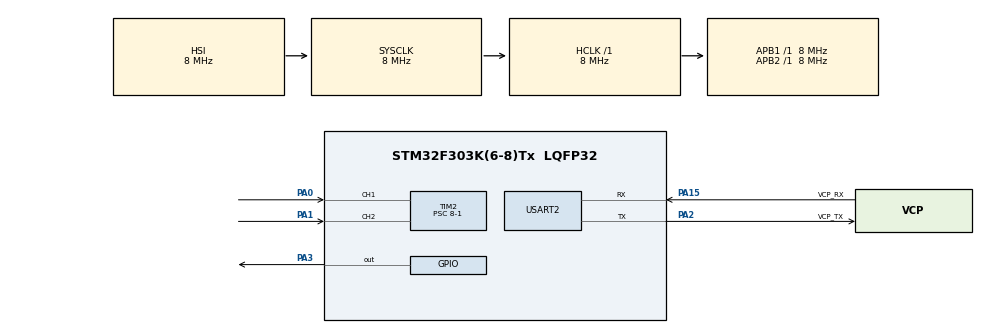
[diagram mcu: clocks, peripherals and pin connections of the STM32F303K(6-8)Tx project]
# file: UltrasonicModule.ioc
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Mcu.Family=STM32F3
Mcu.Name=STM32F303K(6-8)Tx
Mcu.Package=LQFP32
NVIC.PriorityGroup=NVIC_PRIORITYGROUP_4
NVIC.TIM2_IRQn=true\:0\:0\:false\:false\:true\:true\:true\:true
PA0.Signal=S_TIM2_CH1_ETR
PA1.Signal=S_TIM2_CH2
PA13.GPIO_Label=SWDIO
PA13.Mode=Serial_Wire
PA13.Signal=SYS_JTMS-SWDIO
PA14.GPIO_Label=SWCLK
PA14.Mode=Serial_Wire
PA14.Signal=SYS_JTCK-SWCLK
PA15.GPIO_Label=VCP_RX
PA15.Mode=Asynchronous
PA15.Signal=USART2_RX
PA2.GPIO_Label=VCP_TX
PA2.Mode=Asynchronous
PA2.Signal=USART2_TX
PA3.Signal=GPIO_Output
PF0\ /\ OSC_IN.GPIO_Label=MCO
PF0\ /\ OSC_IN.Mode=HSE-External-Clock-Source
PF0\ /\ OSC_IN.Signal=RCC_OSC_IN
ProjectManager.HeapSize=0x200
ProjectManager.StackSize=0x400
ProjectManager.TargetToolchain=STM32CubeIDE
RCC.AHBFreq_Value=8000000
RCC.APB1Freq_Value=8000000
RCC.APB1TimFreq_Value=8000000
RCC.APB2Freq_Value=8000000
RCC.APB2TimFreq_Value=8000000
RCC.CortexFreq_Value=8000000
RCC.HCLKFreq_Value=8000000
RCC.HSE_VALUE=8000000
RCC.HSI_VALUE=8000000
RCC.SYSCLKFreq_VALUE=8000000
SH.S_TIM2_CH1_ETR.0=TIM2_CH1,Input_Capture1_from_TI1
SH.S_TIM2_CH2.0=TIM2_CH2,Input_Capture2_from_TI2
TIM2.Channel-Input_Capture1_from_TI1=TIM_CHANNEL_1
TIM2.Channel-Input_Capture2_from_TI2=TIM_CHANNEL_2
TIM2.ICPolarity_CH2=TIM_INPUTCHANNELPOLARITY_FALLING
TIM2.Prescaler=8-1
USART2.VirtualMode-Asynchronous=VM_ASYNC
board=NUCLEO-F303K8

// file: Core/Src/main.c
/* USER CODE BEGIN Header */
/**
  ******************************************************************************
  * @file           : main.c
  * @brief          : Main program body
  ******************************************************************************
  * @attention
  *
  * Copyright (c) 2026 STMicroelectronics.
  * All rights reserved.
  *
  * This software is licensed under terms that can be found in the LICENSE file
  * in the root directory of this software component.
  * If no LICENSE file comes with this software, it is provided AS-IS.
  *
  ******************************************************************************
  */
/* USER CODE END Header */
#include "main.h"

/* USER CODE BEGIN Includes */
#include <stdio.h>
/* USER CODE END Includes */

TIM_HandleTypeDef htim2;

UART_HandleTypeDef huart2;

/* USER CODE BEGIN PV */
uint32_t t1 = 0;
uint32_t t2 = 0;
float distance = 0;
/* USER CODE END PV */

void SystemClock_Config(void);
static void MX_GPIO_Init(void);
static void MX_USART2_UART_Init(void);
static void MX_TIM2_Init(void);

/* USER CODE BEGIN 0 */
void Start_IC(void) {
	if (HAL_TIM_IC_Start_IT(&htim2, TIM_CHANNEL_1) != HAL_OK) {
		Error_Handler();
	}

	if (HAL_TIM_IC_Start_IT(&htim2, TIM_CHANNEL_2) != HAL_OK) {
		Error_Handler();
	}
}

void calcDistance(uint32_t t1, uint32_t t2) {
	uint32_t dT = t2 - t1;
	distance = (dT * 0.0343) / 2;
}

// Should be called twice, once for channel 1 rising edge detection
// Second time for channel 2 falling edge detection
void HAL_TIM_IC_CaptureCallback(TIM_HandleTypeDef *htim) {

	// Determine which channel generated the interrupt

	// Read Timer after rising edge capture
	if (htim->Channel == HAL_TIM_ACTIVE_CHANNEL_1) {
		t1 = HAL_TIM_ReadCapturedValue(&htim2, TIM_CHANNEL_1);
	}

	// Read Timer after falling edge capture
	if (htim->Channel == HAL_TIM_ACTIVE_CHANNEL_2) {
		t2 = HAL_TIM_ReadCapturedValue(&htim2, TIM_CHANNEL_2);
	}

	// Calculate and print distance
	if (t1 != 0 && t2 != 0) {
		calcDistance(t1, t2);
		printf("Distance: %f\n", distance);

		// Reset t1 and t2
		t1 = 0;
		t2 = 0;
	}
}
/* USER CODE END 0 */

int main(void)
{

  /* MCU Configuration--------------------------------------------------------*/

  /* Reset of all peripherals, Initializes the Flash interface and the Systick. */
  HAL_Init();

  /* Configure the system clock */
  SystemClock_Config();

  /* Initialize all configured peripherals */
  MX_GPIO_Init();
  MX_USART2_UART_Init();
  MX_TIM2_Init();
  /* USER CODE BEGIN 2 */
  Start_IC();
  /* USER CODE END 2 */

  /* Infinite loop */
  /* USER CODE BEGIN WHILE */
  while (1)
  {

	  HAL_GPIO_WritePin(GPIOA, GPIO_PIN_3, GPIO_PIN_SET);
	  HAL_Delay(1);
	  HAL_GPIO_WritePin(GPIOA, GPIO_PIN_3, GPIO_PIN_RESET);
	  HAL_Delay(5);
    /* USER CODE END WHILE */

  }
}

void SystemClock_Config(void)
{
  RCC_OscInitTypeDef RCC_OscInitStruct = {0};
  RCC_ClkInitTypeDef RCC_ClkInitStruct = {0};

  /** Initializes the RCC Oscillators according to the specified parameters
  * in the RCC_OscInitTypeDef structure.
  */
  RCC_OscInitStruct.OscillatorType = RCC_OSCILLATORTYPE_HSI;
  RCC_OscInitStruct.HSIState = RCC_HSI_ON;
  RCC_OscInitStruct.HSICalibrationValue = RCC_HSICALIBRATION_DEFAULT;
  RCC_OscInitStruct.PLL.PLLState = RCC_PLL_NONE;
  if (HAL_RCC_OscConfig(&RCC_OscInitStruct) != HAL_OK)
  {
    Error_Handler();
  }

  /** Initializes the CPU, AHB and APB buses clocks
  */
  RCC_ClkInitStruct.ClockType = RCC_CLOCKTYPE_HCLK|RCC_CLOCKTYPE_SYSCLK
                              |RCC_CLOCKTYPE_PCLK1|RCC_CLOCKTYPE_PCLK2;
  RCC_ClkInitStruct.SYSCLKSource = RCC_SYSCLKSOURCE_HSI;
  RCC_ClkInitStruct.AHBCLKDivider = RCC_SYSCLK_DIV1;
  RCC_ClkInitStruct.APB1CLKDivider = RCC_HCLK_DIV1;
  RCC_ClkInitStruct.APB2CLKDivider = RCC_HCLK_DIV1;

  if (HAL_RCC_ClockConfig(&RCC_ClkInitStruct, FLASH_LATENCY_0) != HAL_OK)
  {
    Error_Handler();
  }
}

static void MX_TIM2_Init(void)
{

  TIM_MasterConfigTypeDef sMasterConfig = {0};
  TIM_IC_InitTypeDef sConfigIC = {0};

  htim2.Instance = TIM2;
  htim2.Init.Prescaler = 8-1;
  htim2.Init.CounterMode = TIM_COUNTERMODE_UP;
  htim2.Init.Period = 4294967295;
  htim2.Init.ClockDivision = TIM_CLOCKDIVISION_DIV1;
  htim2.Init.AutoReloadPreload = TIM_AUTORELOAD_PRELOAD_DISABLE;
  if (HAL_TIM_IC_Init(&htim2) != HAL_OK)
  {
    Error_Handler();
  }
  sMasterConfig.MasterOutputTrigger = TIM_TRGO_RESET;
  sMasterConfig.MasterSlaveMode = TIM_MASTERSLAVEMODE_DISABLE;
  if (HAL_TIMEx_MasterConfigSynchronization(&htim2, &sMasterConfig) != HAL_OK)
  {
    Error_Handler();
  }
  sConfigIC.ICPolarity = TIM_INPUTCHANNELPOLARITY_RISING;
  sConfigIC.ICSelection = TIM_ICSELECTION_DIRECTTI;
  sConfigIC.ICPrescaler = TIM_ICPSC_DIV1;
  sConfigIC.ICFilter = 0;
  if (HAL_TIM_IC_ConfigChannel(&htim2, &sConfigIC, TIM_CHANNEL_1) != HAL_OK)
  {
    Error_Handler();
  }
  sConfigIC.ICPolarity = TIM_INPUTCHANNELPOLARITY_FALLING;
  if (HAL_TIM_IC_ConfigChannel(&htim2, &sConfigIC, TIM_CHANNEL_2) != HAL_OK)
  {
    Error_Handler();
  }

}

static void MX_USART2_UART_Init(void)
{

  huart2.Instance = USART2;
  huart2.Init.BaudRate = 38400;
  huart2.Init.WordLength = UART_WORDLENGTH_8B;
  huart2.Init.StopBits = UART_STOPBITS_1;
  huart2.Init.Parity = UART_PARITY_NONE;
  huart2.Init.Mode = UART_MODE_TX_RX;
  huart2.Init.HwFlowCtl = UART_HWCONTROL_NONE;
  huart2.Init.OverSampling = UART_OVERSAMPLING_16;
  huart2.Init.OneBitSampling = UART_ONE_BIT_SAMPLE_DISABLE;
  huart2.AdvancedInit.AdvFeatureInit = UART_ADVFEATURE_NO_INIT;
  if (HAL_UART_Init(&huart2) != HAL_OK)
  {
    Error_Handler();
  }

}

static void MX_GPIO_Init(void)
{
  GPIO_InitTypeDef GPIO_InitStruct = {0};

  /* GPIO Ports Clock Enable */
  __HAL_RCC_GPIOF_CLK_ENABLE();
  __HAL_RCC_GPIOA_CLK_ENABLE();

  /*Configure GPIO pin Output Level */
  HAL_GPIO_WritePin(GPIOA, GPIO_PIN_3, GPIO_PIN_RESET);

  /*Configure GPIO pin : PA3 */
  GPIO_InitStruct.Pin = GPIO_PIN_3;
  GPIO_InitStruct.Mode = GPIO_MODE_OUTPUT_PP;
  GPIO_InitStruct.Pull = GPIO_NOPULL;
  GPIO_InitStruct.Speed = GPIO_SPEED_FREQ_LOW;
  HAL_GPIO_Init(GPIOA, &GPIO_InitStruct);

}

void Error_Handler(void)
{
  __disable_irq();
  while (1)
  {
  }
}
